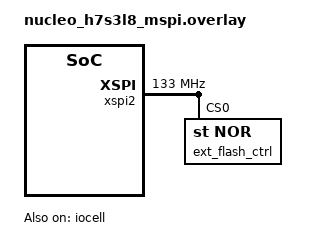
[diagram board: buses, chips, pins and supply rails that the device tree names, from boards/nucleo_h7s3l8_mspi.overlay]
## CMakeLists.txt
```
# SPDX-License-Identifier: Apache-2.0

cmake_minimum_required(VERSION 3.28.0)

find_package(Zephyr REQUIRED HINTS $ENV{ZEPHYR_BASE})
project(code_relocation_nocopy)

FILE(GLOB app_sources src/*.c)
target_sources(app PRIVATE ${app_sources})

# Run ext_code from the external flash (XIP). No need to copy.
zephyr_code_relocate(FILES src/ext_code.c LOCATION EXTFLASH_TEXT NOCOPY)

# But still relocate (copy) the data to RAM
zephyr_code_relocate(FILES src/ext_code.c LOCATION RAM_DATA)

# sram_code instead runs entirely from SRAM after being copied there.
zephyr_code_relocate(FILES src/sram_code.c LOCATION RAM)
```

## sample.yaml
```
sample:
  description: Code data relocation nocopy Sample
  name: code relocation nocopy
tests:
  sample.app_dev.code_relocation_nocopy:
    platform_allow:
      - qemu_cortex_m3
      - nrf5340dk/nrf5340/cpuapp
      - nrf54h20dk/nrf54h20/cpuapp
      - nrf7120dk/nrf7120/cpuapp
      - stm32f769i_disco
      - stm32h7b3i_dk
      - stm32h573i_dk
      - b_u585i_iot02a
      - stm32h745i_disco/stm32h745xx/m7
      - stm32h750b_dk
      - stm32f746g_disco
    integration_platforms:
      - qemu_cortex_m3
    tags: linker
    harness: console
    harness_config:
      type: one_line
      regex:
        - "Hello World! (.*)"
```

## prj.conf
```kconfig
CONFIG_CODE_DATA_RELOCATION=y
CONFIG_HAVE_CUSTOM_LINKER_SCRIPT=y
CONFIG_CUSTOM_LINKER_SCRIPT="linker_arm_nocopy.ld"
CONFIG_BUILD_NO_GAP_FILL=y
CONFIG_COVERAGE=n
CONFIG_XIP=y
CONFIG_LOG=y
CONFIG_FLASH=y
```

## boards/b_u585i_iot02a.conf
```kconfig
# SPDX-FileCopyrightText: Copyright The Zephyr Project Contributors
# SPDX-License-Identifier: Apache-2.0
CONFIG_LOG=y
CONFIG_MSPI_LOG_LEVEL_INF=y

CONFIG_FLASH=y
CONFIG_FLASH_STM32_NOR_MEMMAP=y
CONFIG_MSPI_MEMMAP=y
```

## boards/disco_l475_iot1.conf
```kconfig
# SPDX-FileCopyrightText: Copyright The Zephyr Project Contributors
# SPDX-License-Identifier: Apache-2.0

CONFIG_FLASH=y
CONFIG_STM32_MEMMAP=y
```

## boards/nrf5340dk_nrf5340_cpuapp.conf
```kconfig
CONFIG_FLASH=y
CONFIG_NORDIC_QSPI_NOR_XIP=y
```

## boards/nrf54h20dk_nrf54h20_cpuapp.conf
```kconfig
CONFIG_FLASH=y
```

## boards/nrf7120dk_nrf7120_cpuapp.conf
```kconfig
CONFIG_FLASH=y
CONFIG_MSPI_MEMMAP=y
```

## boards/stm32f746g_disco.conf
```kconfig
CONFIG_FLASH=y
CONFIG_STM32_MEMMAP=y

CONFIG_LOG=y
CONFIG_FLASH_LOG_LEVEL_DBG=y
```

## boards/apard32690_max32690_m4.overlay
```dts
&spixf {
	status = "okay";
};

&mx25u64 {
	status = "okay";
};
```

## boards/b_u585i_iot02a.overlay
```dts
/*
 * Copyright (c) 2026 EXALT Technologies.
 * Copyright (c) 2026 STMicroelectronics
 *
 * SPDX-License-Identifier: Apache-2.0
 */

/ {
	aliases {
		/* The sample gets the DT_ALIAS(flash0) as the mspi device */
		flash0 = &ext_flash_ctrl;
	};
};

&ext_flash_ctrl {
	/* Allow Rd in MemoryMapped mode (permission = 1) */
	memmap-config = <1 0 DT_SIZE_M(64) 1>;
};
```

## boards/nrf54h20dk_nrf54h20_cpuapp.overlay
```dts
/*
 * Copyright (c) 2024 Nordic Semiconductor ASA
 *
 * SPDX-License-Identifier: Apache-2.0
 */

&xip_region {
	status = "okay";
};

&gpio6 {
	status = "okay";
};

&exmif {
	status = "okay";
};

&mx25uw63 {

	memmap-config = <1 0 0x20000000 0>;
	status = "okay";
};
```

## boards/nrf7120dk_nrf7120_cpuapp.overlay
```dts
/*
 * Copyright (c) 2026 Nordic Semiconductor ASA
 *
 * SPDX-License-Identifier: Apache-2.0
 */

/ {
	aliases {
		flash0 = &mx25u25645g;
	};
};

&gpio1 {
	status = "okay";
};

&spi00 {
	status = "disabled";
};

&uart00 {
	status = "disabled";
};

&mspi00 {
	status = "okay";
};

&mx25u25645g {
	status = "okay";
	memmap-config = <1 0 DT_SIZE_M(224) 1>;
};
```

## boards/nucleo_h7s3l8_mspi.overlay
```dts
/*
 * Copyright (c) 2026 EXALT Technologies
 *
 * SPDX-License-Identifier: Apache-2.0
 */

/delete-node/ &xspi2;

/ {
	soc {
		xspi2: spi@5200a000 {
			compatible = "st,stm32-xspi-controller";
			reg = <0x5200a000 0x1000>, <0x70000000 DT_SIZE_M(256)>;
			interrupts = <106 0>;
			clock-names = "xspix";
			clocks = <&rcc STM32_CLOCK(AHB5, 12)>;
			clock-frequency = <DT_FREQ_M(133)>;
			op-mode = "MSPI_OP_MODE_CONTROLLER";
			#address-cells = <1>;
			#size-cells = <0>;
			pinctrl-0 = <&xspim_p2_clk_pn6 &xspim_p2_ncs1_pn1
				     &xspim_p2_io0_pn2 &xspim_p2_io1_pn3
				     &xspim_p2_io2_pn4 &xspim_p2_io3_pn5
				     &xspim_p2_io4_pn8 &xspim_p2_io5_pn9
				     &xspim_p2_io6_pn10 &xspim_p2_io7_pn11
				     &xspim_p2_dqs0_pn0>;
			pinctrl-names = "default";
			status = "okay";

			ext_flash_ctrl: xspi-nor-flash@0 {
				compatible = "st,nor", "mxicy,mx25u", "jedec,nor";
				reg = <0>;
				size = <DT_SIZE_M(256)>;
				status = "okay";
				read-command = <0xec13>;
				write-command = <0x12ed>;
				memmap-config = <1 0x00000000 0 1>;
				rx-dummy = <20>;
				st,mem-type = "macronix";
				mspi-max-frequency = <DT_FREQ_M(133)>;
				mspi-io-mode = "MSPI_IO_MODE_OCTAL";
				mspi-data-rate = "MSPI_DATA_RATE_SINGLE";
				mspi-hardware-ce-num = <0>;
				command-length = "INSTR_2_BYTE";
				#address-cells = <1>;
				#size-cells = <1>;

				ext_flash: mx25uw25645: xspi-nor-flash@0 {
					compatible = "soc-nv-flash";
					reg = <0x0 DT_SIZE_M(32)>;
					write-block-size = <1>;
					erase-block-size = <DT_SIZE_K(4)>;

					partitions {
						compatible = "fixed-partitions";
						#address-cells = <1>;
						#size-cells = <1>;
					};
				};
			};
		};
	};
};

&iocell {
	status = "okay";

	vddxspi2 {
		/delete-property/ hslv-mode;
		/delete-property/ compensation-enabled;
	};
};
```

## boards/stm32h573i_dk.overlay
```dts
/*
 * Copyright (c) 2026 STMicroelectronics
 *
 * SPDX-License-Identifier: Apache-2.0
 */

/ {
	aliases {
		/* The sample gets the DT_ALIAS(flash0) as the mspi device */
		flash0 = &ext_flash_ctrl;
	};
};

&ext_flash_ctrl {
	/* Allow Rd in MemoryMapped mode (permission = 1) */
	memmap-config = <1 0 DT_SIZE_M(64) 1>;
};
```

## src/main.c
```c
/*
 * Copyright (c) 2018 Intel Corporation.
 * Copyright (c) 2022 Carlo Caione <ccaione@baylibre.com>
 *
 * SPDX-License-Identifier: Apache-2.0
 */

#include <zephyr/kernel.h>
#include <zephyr/sys/printk.h>

/*
 * This function will allow execute from sram region.  This is needed only for
 * this sample because by default all soc will disable the execute from SRAM.
 * An application that requires that the code be executed from SRAM will have
 * to configure the region appropriately in arm_mpu_regions.c.
 */
#ifdef CONFIG_ARM_MPU
#include <cmsis_core.h>
void disable_mpu_rasr_xn(void)
{
	uint32_t index;

	/*
	 * Kept the max index as 8(irrespective of soc) because the sram would
	 * most likely be set at index 2.
	 */
	for (index = 0U; index < 8; index++) {
		MPU->RNR = index;
#if defined(CONFIG_ARMV8_M_BASELINE) || defined(CONFIG_ARMV8_M_MAINLINE)
		if (MPU->RBAR & MPU_RBAR_XN_Msk) {
			MPU->RBAR ^= MPU_RBAR_XN_Msk;
		}
#else
		if (MPU->RASR & MPU_RASR_XN_Msk) {
			MPU->RASR ^= MPU_RASR_XN_Msk;
		}
#endif /* CONFIG_ARMV8_M_BASELINE || CONFIG_ARMV8_M_MAINLINE */
	}
}
#endif /* CONFIG_ARM_MPU */

extern void function_in_ext_flash(void);
extern void function_in_sram(void);

int main(void)
{
#ifdef CONFIG_ARM_MPU
	disable_mpu_rasr_xn();
#endif	/* CONFIG_ARM_MPU */

	printk("Address of %s function %p\n", __func__, &main);

	function_in_ext_flash();
	function_in_sram();

	printk("Hello World! %s\n", CONFIG_BOARD);
	return 0;
}
```

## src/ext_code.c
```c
/*
 * Copyright (c) 2022 Carlo Caione <ccaione@baylibre.com>
 *
 * SPDX-License-Identifier: Apache-2.0
 */

#include <zephyr/kernel.h>
#include <zephyr/sys/printk.h>

uint32_t var_ext_sram_data = 10U;

void function_in_ext_flash(void)
{
	printk("Address of %s %p\n", __func__, &function_in_ext_flash);
	printk("Address of var_ext_sram_data %p (%d)\n", &var_ext_sram_data, var_ext_sram_data);
}
```

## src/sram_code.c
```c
/*
 * Copyright (c) 2022 Carlo Caione <ccaione@baylibre.com>
 *
 * SPDX-License-Identifier: Apache-2.0
 */

#include <zephyr/kernel.h>
#include <zephyr/sys/printk.h>

uint32_t var_sram_data = 10U;

void function_in_sram(void)
{
	printk("Address of %s %p\n", __func__, &function_in_sram);
	printk("Address of var_sram_data %p (%d)\n", &var_sram_data, var_sram_data);
}
```

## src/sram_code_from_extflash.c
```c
/*
 * Copyright (c) 2022 Carlo Caione <ccaione@baylibre.com>
 *
 * SPDX-License-Identifier: Apache-2.0
 */

#include <zephyr/kernel.h>
#include <zephyr/sys/printk.h>

void function_in_sram_from_extflash(void)
{
	printk("Address of %s %p\n", __func__, &function_in_sram_from_extflash);
}
```
